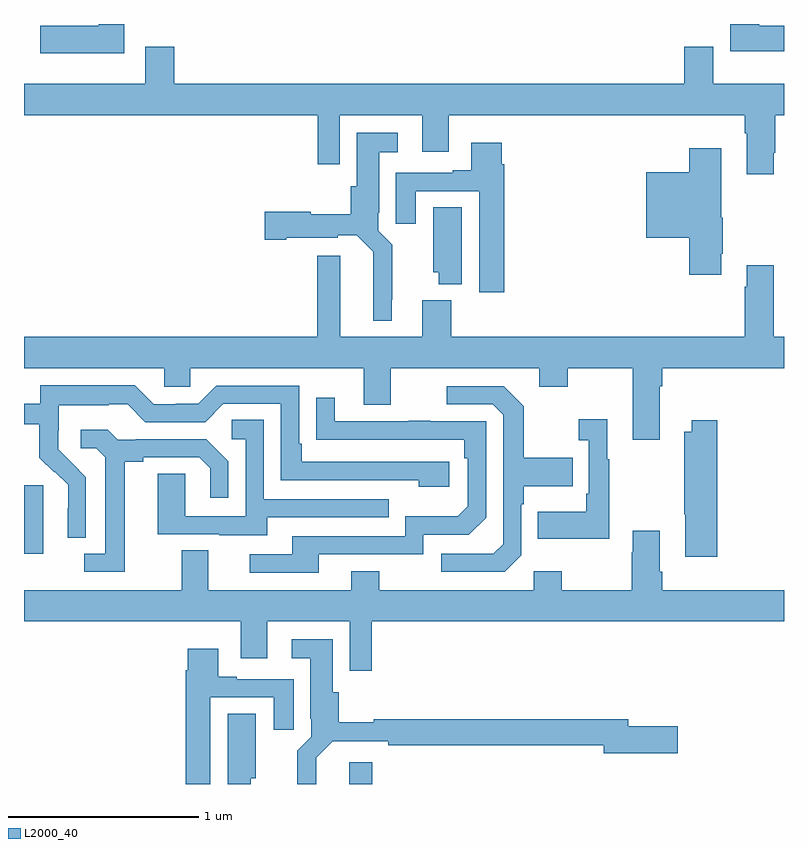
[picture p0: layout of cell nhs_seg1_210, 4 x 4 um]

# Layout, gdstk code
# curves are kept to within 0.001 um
import gdstk
lib = gdstk.Library(unit=1e-6, precision=1e-09)
def R(c, l, rs):  # rectangles x0, y0, x1, y1
    for r in rs: c.add(gdstk.rectangle(r[:2], r[2:], *l))
def P(c, l, *ps):  # polygons
    for p in ps: c.add(gdstk.Polygon(p, *l))
L2000_40 = (2000, 40)

nhs_seg1_210 = lib.new_cell('nhs_seg1_210')
R(nhs_seg1_210, L2000_40, [(122.711,560.199,122.834,560.314), (121,561.41,121.102,561.771)])
P(nhs_seg1_210, L2000_40, [(121.528,564.199),(121.394,564.199),(121.394,564.19),(121.085,564.19),(121.085,564.044),(121.528,564.044)],
  [(125,564.19),(124.87,564.19),(124.87,564.199),(124.718,564.199),(124.718,564.056),(125,564.056)],
  [(124.945,563.521),(124.953,563.521),(124.953,563.72),(125,563.72),(125,563.884),(124.627,563.884),(124.627,564.079),(124.475,564.079),(124.475,563.884),(121.79,563.884),(121.79,564.079),(121.637,564.079),(121.637,563.884),(121,563.884),(121,563.72),(122.545,563.72),(122.545,563.46),(122.661,563.46),(122.661,563.72),(123.095,563.72),(123.095,563.526),(123.235,563.526),(123.235,563.72),(124.793,563.72),(124.793,563.624),(124.805,563.624),(124.805,563.409),(124.945,563.409)],
  [(122.935,562.747),(122.939,562.747),(122.939,563.038),(122.865,563.112),(122.865,563.206),(122.869,563.206),(122.869,563.525),(122.968,563.525),(122.968,563.626),(122.75,563.626),(122.75,563.346),(122.72,563.346),(122.72,563.197),(122.508,563.197),(122.508,563.21),(122.268,563.21),(122.268,563.063),(122.38,563.063),(122.38,563.075),(122.652,563.075),(122.652,563.087),(122.751,563.087),(122.838,563),(122.837,562.637),(122.935,562.637)],
  [(123.527,563.462),(123.514,563.462),(123.514,563.575),(123.353,563.575),(123.353,563.428),(123.257,563.428),(123.257,563.415),(122.957,563.415),(122.957,563.148),(123.061,563.148),(123.061,563.319),(123.395,563.319),(123.395,562.788),(123.527,562.788)],
  [(124.669,562.99),(124.677,562.99),(124.677,563.179),(124.669,563.179),(124.669,563.545),(124.502,563.545),(124.502,563.419),(124.274,563.419),(124.274,563.075),(124.502,563.075),(124.502,562.878),(124.669,562.878)],
  [(123.304,563.234),(123.155,563.234),(123.155,562.893),(123.182,562.893),(123.182,562.829),(123.304,562.829)],
  [(124.345,562.292),(124.358,562.292),(124.358,562.388),(125,562.388),(125,562.552),(124.945,562.552),(124.945,562.93),(124.805,562.93),(124.805,562.817),(124.793,562.817),(124.793,562.552),(123.248,562.552),(123.248,562.744),(123.095,562.744),(123.095,562.552),(122.665,562.552),(122.665,562.978),(122.543,562.978),(122.543,562.552),(121,562.552),(121,562.388),(121.737,562.388),(121.737,562.29),(121.875,562.29),(121.875,562.388),(122.789,562.388),(122.789,562.194),(122.929,562.194),(122.929,562.388),(123.713,562.388),(123.713,562.289),(123.861,562.289),(123.861,562.388),(124.205,562.388),(124.205,562.011),(124.345,562.011)],
  [(121.326,561.814),(121.18,561.962),(121.18,562.059),(121.182,562.059),(121.182,562.193),(121.445,562.193),(121.445,562.197),(121.545,562.197),(121.638,562.104),(121.953,562.104),(122.049,562.2),(122.352,562.2),(122.352,561.798),(123.077,561.798),(123.077,561.764),(123.238,561.764),(123.238,561.894),(122.461,561.894),(122.461,561.991),(122.448,561.991),(122.448,562.296),(122.013,562.296),(121.917,562.2),(121.799,562.2),(121.799,562.197),(121.683,562.197),(121.583,562.297),(121.086,562.297),(121.086,562.2),(121,562.2),(121,562.092),(121.081,562.092),(121.081,561.917),(121.158,561.84),(121.161,561.843),(121.232,561.773),(121.232,561.65),(121.23,561.65),(121.23,561.496),(121.326,561.496)],
  [(123.618,561.402),(123.618,561.671),(123.631,561.671),(123.631,561.767),(123.887,561.767),(123.887,561.915),(123.631,561.915),(123.631,562.187),(123.525,562.293),(123.225,562.293),(123.225,562.197),(123.468,562.197),(123.522,562.143),(123.522,561.462),(123.471,561.411),(123.195,561.411),(123.195,561.315),(123.531,561.315)],
  [(122.551,561.408),(123.102,561.408),(123.102,561.51),(123.342,561.51),(123.432,561.6),(123.432,562.107),(123.137,562.107),(123.137,562.112),(123.025,562.112),(123.025,562.107),(122.635,562.107),(122.635,562.231),(122.539,562.231),(122.539,562.012),(123.316,562.011),(123.316,561.914),(123.336,561.914),(123.336,561.66),(123.283,561.607),(123.006,561.607),(123.006,561.504),(122.411,561.504),(122.411,561.408),(122.187,561.408),(122.187,561.312),(122.551,561.312)],
  [(124.081,561.907),(124.069,561.907),(124.069,562.12),(123.921,562.12),(123.921,562.007),(123.972,562.007),(123.972,561.727),(123.96,561.727),(123.96,561.631),(123.703,561.631),(123.703,561.491),(124.081,561.491)],
  [(122.281,561.603),(122.921,561.603),(122.921,561.699),(122.262,561.699),(122.262,562.115),(122.094,562.115),(122.094,562.014),(122.166,562.014),(122.166,561.609),(121.848,561.609),(121.848,561.833),(121.703,561.833),(121.703,561.513),(122.027,561.513),(122.027,561.509),(122.281,561.509)],
  [(124.649,562.114),(124.514,562.114),(124.514,562.054),(124.474,562.054),(124.474,561.619),(124.481,561.619),(124.481,561.396),(124.649,561.396)],
  [(121.531,561.896),(121.627,561.896),(121.627,561.918),(121.922,561.918),(121.979,561.861),(121.979,561.705),(122.076,561.705),(122.076,561.898),(121.96,562.014),(121.588,562.014),(121.588,562.011),(121.494,562.011),(121.442,562.063),(121.299,562.063),(121.299,561.966),(121.38,561.966),(121.427,561.919),(121.427,561.411),(121.317,561.411),(121.317,561.315),(121.531,561.315)],
  [(122.831,561.056),(125,561.056),(125,561.22),(124.358,561.22),(124.358,561.316),(124.345,561.316),(124.345,561.532),(124.205,561.532),(124.205,561.419),(124.198,561.419),(124.198,561.22),(123.831,561.22),(123.831,561.319),(123.684,561.319),(123.684,561.22),(122.871,561.22),(122.871,561.319),(122.723,561.319),(122.723,561.22),(121.969,561.22),(121.969,561.428),(121.829,561.428),(121.829,561.22),(121,561.22),(121,561.056),(122.141,561.056),(122.141,560.862),(122.281,560.862),(122.281,561.056),(122.715,561.056),(122.715,560.796),(122.831,560.796)],
  [(122.539,560.336),(122.626,560.424),(122.917,560.424),(122.917,560.404),(124.052,560.404),(124.052,560.362),(124.441,560.362),(124.441,560.504),(124.18,560.504),(124.18,560.54),(122.84,560.54),(122.84,560.525),(122.657,560.525),(122.657,560.682),(122.626,560.682),(122.626,560.962),(122.409,560.962),(122.409,560.861),(122.507,560.861),(122.507,560.542),(122.511,560.542),(122.511,560.448),(122.437,560.374),(122.437,560.199),(122.539,560.199)],
  [(121.981,560.655),(122.315,560.655),(122.315,560.484),(122.419,560.484),(122.419,560.751),(122.119,560.751),(122.119,560.764),(122.023,560.764),(122.023,560.911),(121.862,560.911),(121.862,560.798),(121.85,560.798),(121.85,560.199),(121.981,560.199)],
  [(122.194,560.229),(122.221,560.229),(122.221,560.57),(122.072,560.57),(122.072,560.199),(122.194,560.199)])

lib.write_gds('nhs_seg1_210.gds')
